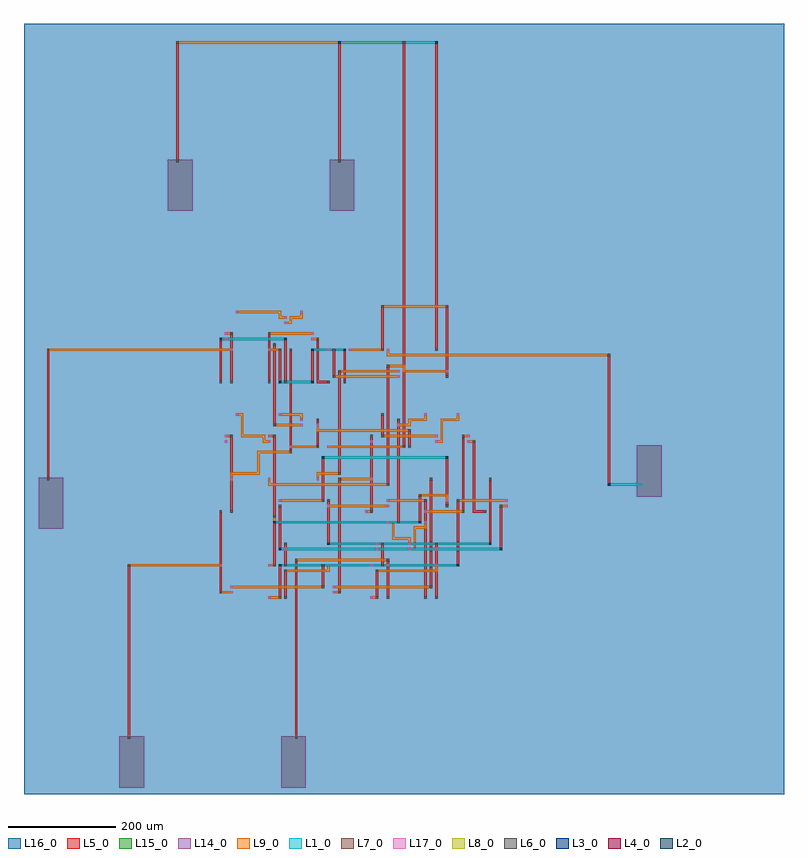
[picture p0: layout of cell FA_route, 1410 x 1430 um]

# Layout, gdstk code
from math import pi, radians
import gdstk
lib = gdstk.Library(unit=1e-6, precision=1e-09)
def R(c, l, rs):  # rectangles x0, y0, x1, y1
    for r in rs: c.add(gdstk.rectangle(r[:2], r[2:], *l))
L1_0 = (1, 0)
L2_0 = (2, 0)
L3_0 = (3, 0)
L4_0 = (4, 0)
L5_0 = (5, 0)
L6_0 = (6, 0)
L7_0 = (7, 0)
L8_0 = (8, 0)
L9_0 = (9, 0)
L14_0 = (14, 0)
L15_0 = (15, 0)
L16_0 = (16, 0)
L17_0 = (17, 0)

via45 = lib.new_cell('VIA45')
R(via45, L7_0, [(-2.2,-2.2,2.2,2.2)])
R(via45, L8_0, [(-2.2,-2.2,2.2,2.2)])
R(via45, L9_0, [(-2.2,-2.2,2.2,2.2)])

via34 = lib.new_cell('VIA34')
R(via34, L5_0, [(-2.2,-2.2,2.2,2.2)])
R(via34, L6_0, [(-2.2,-2.2,2.2,2.2)])
R(via34, L7_0, [(-2.2,-2.2,2.2,2.2)])

via23 = lib.new_cell('VIA23')
R(via23, L3_0, [(-2.2,-2.2,2.2,2.2)])
R(via23, L4_0, [(-2.2,-2.2,2.2,2.2)])
R(via23, L5_0, [(-2.2,-2.2,2.2,2.2)])

pad = lib.new_cell('PAD')
R(pad, L14_0, [(27,12.5,73,107.5)])
R(pad, L15_0, [(27,12.5,73,107.5)])
R(pad, L16_0, [(0,0,100,120)])

via12 = lib.new_cell('VIA12')
R(via12, L1_0, [(-2.2,-2.2,2.2,2.2)])
R(via12, L2_0, [(-2.2,-2.2,2.2,2.2)])
R(via12, L3_0, [(-2.2,-2.2,2.2,2.2)])

thmitll_splitt = lib.new_cell('THmitll_SPLITT')
R(thmitll_splitt, L16_0, [(0,0,30,70)])
R(thmitll_splitt, L17_0, [(22.8,12.8,27.2,17.2), (22.8,22.8,27.2,27.2), (2.8,62.8,7.2,67.2)])

thmitll_dfft = lib.new_cell('THmitll_DFFT')
R(thmitll_dfft, L16_0, [(0,0,30,70)])
R(thmitll_dfft, L17_0, [(2.8,2.8,7.2,7.2), (22.8,2.8,27.2,7.2), (22.8,62.8,27.2,67.2)])

thmitll_xort = lib.new_cell('THmitll_XORT')
R(thmitll_xort, L16_0, [(0,0,50,70)])
R(thmitll_xort, L17_0, [(2.8,2.8,7.2,7.2), (32.8,2.8,37.2,7.2), (2.8,62.8,7.2,67.2), (42.8,62.8,47.2,67.2)])

thmitll_or2t = lib.new_cell('THmitll_OR2T')
R(thmitll_or2t, L16_0, [(0,0,40,70)])
R(thmitll_or2t, L17_0, [(2.8,2.8,7.2,7.2), (32.8,2.8,37.2,7.2), (2.8,62.8,7.2,67.2), (32.8,62.8,37.2,67.2)])

thmitll_and2t = lib.new_cell('THmitll_AND2T')
R(thmitll_and2t, L16_0, [(0,0,50,70)])
R(thmitll_and2t, L17_0, [(2.8,2.8,7.2,7.2), (42.8,12.8,47.2,17.2), (42.8,22.8,47.2,27.2), (12.8,62.8,17.2,67.2)])

fa_route = lib.new_cell('FA_route')
R(fa_route, L16_0, [(0,0,1410,1430)])
fa_route.add(gdstk.FlexPath([(715,645),(715,675)], 4.4, ends="extended", simple_path=True, layer=5, datatype=0))  # L5_0
fa_route.add(gdstk.FlexPath([(285,1175),(285,1395)], 4.4, ends="extended", simple_path=True, layer=5, datatype=0))  # L5_0
fa_route.add(gdstk.FlexPath([(535,765),(535,825)], 4.4, ends="extended", simple_path=True, layer=5, datatype=0))  # L5_0
fa_route.add(gdstk.FlexPath([(585,375),(585,585)], 4.4, ends="extended", simple_path=True, layer=5, datatype=0))  # L5_0
fa_route.add(gdstk.FlexPath([(765,1395),(765,825)], 4.4, ends="extended", simple_path=True, layer=5, datatype=0))  # L5_0
fa_route.add(gdstk.FlexPath([(835,655),(835,525)], 4.4, ends="extended", simple_path=True, layer=5, datatype=0))  # L5_0
fa_route.add(gdstk.FlexPath([(485,425),(485,465)], 4.4, ends="extended", simple_path=True, layer=5, datatype=0))  # L5_0
fa_route.add(gdstk.FlexPath([(465,425),(465,505)], 4.4, ends="extended", simple_path=True, layer=5, datatype=0))  # L5_0
fa_route.add(gdstk.FlexPath([(485,765),(485,845)], 4.4, ends="extended", simple_path=True, layer=5, datatype=0))  # L5_0
fa_route.add(gdstk.FlexPath([(545,645),(545,695)], 4.4, ends="extended", simple_path=True, layer=5, datatype=0))  # L5_0
fa_route.add(gdstk.FlexPath([(455,765),(455,855)], 4.4, ends="extended", simple_path=True, layer=5, datatype=0))  # L5_0
fa_route.add(gdstk.FlexPath([(465,665),(465,515)], 4.4, ends="extended", simple_path=True, layer=5, datatype=0))  # L5_0
fa_route.add(gdstk.FlexPath([(485,415),(485,365)], 4.4, ends="extended", simple_path=True, layer=5, datatype=0))  # L5_0
fa_route.add(gdstk.FlexPath([(555,545),(555,625)], 4.4, ends="extended", simple_path=True, layer=5, datatype=0))  # L5_0
fa_route.add(gdstk.FlexPath([(505,105),(505,435)], 4.4, ends="extended", simple_path=True, layer=5, datatype=0))  # L5_0
fa_route.add(gdstk.FlexPath([(475,455),(475,535)], 4.4, ends="extended", simple_path=True, layer=5, datatype=0))  # L5_0
fa_route.add(gdstk.FlexPath([(465,835),(465,685)], 4.4, ends="extended", simple_path=True, layer=5, datatype=0))  # L5_0
fa_route.add(gdstk.FlexPath([(865,465),(865,585)], 4.4, ends="extended", simple_path=True, layer=5, datatype=0))  # L5_0
fa_route.add(gdstk.FlexPath([(555,385),(555,425)], 4.4, ends="extended", simple_path=True, layer=5, datatype=0))  # L5_0
fa_route.add(gdstk.FlexPath([(815,665),(815,525)], 4.4, ends="extended", simple_path=True, layer=5, datatype=0))  # L5_0
fa_route.add(gdstk.FlexPath([(765,365),(765,465)], 4.4, ends="extended", simple_path=True, layer=5, datatype=0))  # L5_0
fa_route.add(gdstk.FlexPath([(585,1175),(585,1395)], 4.4, ends="extended", simple_path=True, layer=5, datatype=0))  # L5_0
fa_route.add(gdstk.FlexPath([(475,365),(475,425)], 4.4, ends="extended", simple_path=True, layer=5, datatype=0))  # L5_0
fa_route.add(gdstk.FlexPath([(785,905),(785,775)], 4.4, ends="extended", simple_path=True, layer=5, datatype=0))  # L5_0
fa_route.add(gdstk.FlexPath([(495,825),(495,635)], 4.4, ends="extended", simple_path=True, layer=5, datatype=0))  # L5_0
fa_route.add(gdstk.FlexPath([(475,825),(475,765)], 4.4, ends="extended", simple_path=True, layer=5, datatype=0))  # L5_0
fa_route.add(gdstk.FlexPath([(645,525),(645,665)], 4.4, ends="extended", simple_path=True, layer=5, datatype=0))  # L5_0
fa_route.add(gdstk.FlexPath([(545,765),(565,765)], 4.4, ends="extended", simple_path=True, layer=5, datatype=0))  # L5_0
fa_route.add(gdstk.FlexPath([(705,1395),(705,645)], 4.4, ends="extended", simple_path=True, layer=5, datatype=0))  # L5_0
fa_route.add(gdstk.FlexPath([(675,795),(675,575)], 4.4, ends="extended", simple_path=True, layer=5, datatype=0))  # L5_0
fa_route.add(gdstk.FlexPath([(665,465),(665,425)], 4.4, ends="extended", simple_path=True, layer=5, datatype=0))  # L5_0
fa_route.add(gdstk.FlexPath([(365,525),(365,375)], 4.4, ends="extended", simple_path=True, layer=5, datatype=0))  # L5_0
fa_route.add(gdstk.FlexPath([(1085,575),(1085,815)], 4.4, ends="extended", simple_path=True, layer=5, datatype=0))  # L5_0
fa_route.add(gdstk.FlexPath([(735,505),(735,555)], 4.4, ends="extended", simple_path=True, layer=5, datatype=0))  # L5_0
fa_route.add(gdstk.FlexPath([(565,545),(565,465)], 4.4, ends="extended", simple_path=True, layer=5, datatype=0))  # L5_0
fa_route.add(gdstk.FlexPath([(595,825),(595,765)], 4.4, ends="extended", simple_path=True, layer=5, datatype=0))  # L5_0
fa_route.add(gdstk.FlexPath([(575,825),(575,775)], 4.4, ends="extended", simple_path=True, layer=5, datatype=0))  # L5_0
fa_route.add(gdstk.FlexPath([(385,665),(385,525)], 4.4, ends="extended", simple_path=True, layer=5, datatype=0))  # L5_0
fa_route.add(gdstk.FlexPath([(45,585),(45,825)], 4.4, ends="extended", simple_path=True, layer=5, datatype=0))  # L5_0
fa_route.add(gdstk.FlexPath([(195,105),(195,425)], 4.4, ends="extended", simple_path=True, layer=5, datatype=0))  # L5_0
fa_route.add(gdstk.FlexPath([(885,535),(885,455)], 4.4, ends="extended", simple_path=True, layer=5, datatype=0))  # L5_0
fa_route.add(gdstk.FlexPath([(655,365),(655,415)], 4.4, ends="extended", simple_path=True, layer=5, datatype=0))  # L5_0
fa_route.add(gdstk.FlexPath([(785,625),(785,535)], 4.4, ends="extended", simple_path=True, layer=5, datatype=0))  # L5_0
fa_route.add(gdstk.FlexPath([(365,845),(365,765)], 4.4, ends="extended", simple_path=True, layer=5, datatype=0))  # L5_0
fa_route.add(gdstk.FlexPath([(545,845),(545,765)], 4.4, ends="extended", simple_path=True, layer=5, datatype=0))  # L5_0
fa_route.add(gdstk.FlexPath([(695,505),(695,695)], 4.4, ends="extended", simple_path=True, layer=5, datatype=0))  # L5_0
fa_route.add(gdstk.FlexPath([(745,545),(745,365)], 4.4, ends="extended", simple_path=True, layer=5, datatype=0))  # L5_0
fa_route.add(gdstk.FlexPath([(755,385),(755,585)], 4.4, ends="extended", simple_path=True, layer=5, datatype=0))  # L5_0
fa_route.add(gdstk.FlexPath([(665,705),(665,665)], 4.4, ends="extended", simple_path=True, layer=5, datatype=0))  # L5_0
fa_route.add(gdstk.FlexPath([(835,525),(855,525)], 4.4, ends="extended", simple_path=True, layer=5, datatype=0))  # L5_0
fa_route.add(gdstk.FlexPath([(385,855),(385,765)], 4.4, ends="extended", simple_path=True, layer=5, datatype=0))  # L5_0
fa_route.add(gdstk.FlexPath([(675,435),(675,365)], 4.4, ends="extended", simple_path=True, layer=5, datatype=0))  # L5_0
fa_route.add(gdstk.FlexPath([(665,825),(665,905)], 4.4, ends="extended", simple_path=True, layer=5, datatype=0))  # L5_0
fa_route.add(gdstk.FlexPath([(585,785),(585,595)], 4.4, ends="extended", simple_path=True, layer=5, datatype=0))  # L5_0
fa_route.add(gdstk.FlexPath([(805,425),(805,545)], 4.4, ends="extended", simple_path=True, layer=5, datatype=0))  # L5_0
fa_route.add(gdstk.FlexPath([(555,625),(785,625)], 4.4, ends="extended", simple_path=True, layer=1, datatype=0))  # L1_0
fa_route.add(gdstk.FlexPath([(475,765),(535,765)], 4.4, ends="extended", simple_path=True, layer=1, datatype=0))  # L1_0
fa_route.add(gdstk.FlexPath([(1145,575),(1085,575)], 4.4, ends="extended", simple_path=True, layer=1, datatype=0))  # L1_0
fa_route.add(gdstk.FlexPath([(485,845),(365,845)], 4.4, ends="extended", simple_path=True, layer=1, datatype=0))  # L1_0
fa_route.add(gdstk.FlexPath([(885,455),(475,455)], 4.4, ends="extended", simple_path=True, layer=1, datatype=0))  # L1_0
fa_route.add(gdstk.FlexPath([(585,1395),(765,1395)], 4.4, ends="extended", simple_path=True, layer=1, datatype=0))  # L1_0
fa_route.add(gdstk.FlexPath([(565,465),(865,465)], 4.4, ends="extended", simple_path=True, layer=1, datatype=0))  # L1_0
fa_route.add(gdstk.FlexPath([(475,425),(805,425)], 4.4, ends="extended", simple_path=True, layer=1, datatype=0))  # L1_0
fa_route.add(gdstk.FlexPath([(465,505),(735,505)], 4.4, ends="extended", simple_path=True, layer=1, datatype=0))  # L1_0
fa_route.add(gdstk.FlexPath([(535,825),(595,825)], 4.4, ends="extended", simple_path=True, layer=1, datatype=0))  # L1_0
fa_route.add(gdstk.FlexPath([(675,815),(675,825)], 4.4, ends="extended", simple_path=True, layer=9, datatype=0))  # L9_0
fa_route.add(gdstk.FlexPath([(515,885),(515,895)], 4.4, ends="extended", simple_path=True, layer=9, datatype=0))  # L9_0
fa_route.add(gdstk.FlexPath([(645,365),(655,365)], 4.4, ends="extended", simple_path=True, layer=9, datatype=0))  # L9_0
fa_route.add(gdstk.FlexPath([(675,545),(745,545)], 4.4, ends="extended", simple_path=True, layer=9, datatype=0))  # L9_0
fa_route.add(gdstk.FlexPath([(685,475),(715,475)], 4.4, ends="extended", simple_path=True, layer=9, datatype=0))  # L9_0
fa_route.add(gdstk.FlexPath([(455,575),(455,585)], 4.4, ends="extended", simple_path=True, layer=9, datatype=0))  # L9_0
fa_route.add(gdstk.FlexPath([(375,855),(385,855)], 4.4, ends="extended", simple_path=True, layer=9, datatype=0))  # L9_0
fa_route.add(gdstk.FlexPath([(575,385),(755,385)], 4.4, ends="extended", simple_path=True, layer=9, datatype=0))  # L9_0
fa_route.add(gdstk.FlexPath([(715,695),(745,695)], 4.4, ends="extended", simple_path=True, layer=9, datatype=0))  # L9_0
fa_route.add(gdstk.FlexPath([(785,785),(705,785)], 4.4, ends="extended", simple_path=True, layer=9, datatype=0))  # L9_0
fa_route.add(gdstk.FlexPath([(765,655),(775,655)], 4.4, ends="extended", simple_path=True, layer=9, datatype=0))  # L9_0
fa_route.add(gdstk.FlexPath([(605,825),(665,825)], 4.4, ends="extended", simple_path=True, layer=9, datatype=0))  # L9_0
fa_route.add(gdstk.FlexPath([(495,635),(435,635)], 4.4, ends="extended", simple_path=True, layer=9, datatype=0))  # L9_0
fa_route.add(gdstk.FlexPath([(705,645),(565,645)], 4.4, ends="extended", simple_path=True, layer=9, datatype=0))  # L9_0
fa_route.add(gdstk.FlexPath([(365,375),(385,375)], 4.4, ends="extended", simple_path=True, layer=9, datatype=0))  # L9_0
fa_route.add(gdstk.FlexPath([(725,455),(725,495)], 4.4, ends="extended", simple_path=True, layer=9, datatype=0))  # L9_0
fa_route.add(gdstk.FlexPath([(495,885),(515,885)], 4.4, ends="extended", simple_path=True, layer=9, datatype=0))  # L9_0
fa_route.add(gdstk.FlexPath([(785,555),(785,545)], 4.4, ends="extended", simple_path=True, layer=9, datatype=0))  # L9_0
fa_route.add(gdstk.FlexPath([(825,655),(835,655)], 4.4, ends="extended", simple_path=True, layer=9, datatype=0))  # L9_0
fa_route.add(gdstk.FlexPath([(675,575),(455,575)], 4.4, ends="extended", simple_path=True, layer=9, datatype=0))  # L9_0
fa_route.add(gdstk.FlexPath([(405,705),(405,665)], 4.4, ends="extended", simple_path=True, layer=9, datatype=0))  # L9_0
fa_route.add(gdstk.FlexPath([(805,695),(805,705)], 4.4, ends="extended", simple_path=True, layer=9, datatype=0))  # L9_0
fa_route.add(gdstk.FlexPath([(715,685),(715,695)], 4.4, ends="extended", simple_path=True, layer=9, datatype=0))  # L9_0
fa_route.add(gdstk.FlexPath([(765,415),(765,425)], 4.4, ends="extended", simple_path=True, layer=9, datatype=0))  # L9_0
fa_route.add(gdstk.FlexPath([(545,675),(545,685)], 4.4, ends="extended", simple_path=True, layer=9, datatype=0))  # L9_0
fa_route.add(gdstk.FlexPath([(195,425),(365,425)], 4.4, ends="extended", simple_path=True, layer=9, datatype=0))  # L9_0
fa_route.add(gdstk.FlexPath([(395,895),(475,895)], 4.4, ends="extended", simple_path=True, layer=9, datatype=0))  # L9_0
fa_route.add(gdstk.FlexPath([(735,555),(785,555)], 4.4, ends="extended", simple_path=True, layer=9, datatype=0))  # L9_0
fa_route.add(gdstk.FlexPath([(475,545),(555,545)], 4.4, ends="extended", simple_path=True, layer=9, datatype=0))  # L9_0
fa_route.add(gdstk.FlexPath([(385,385),(555,385)], 4.4, ends="extended", simple_path=True, layer=9, datatype=0))  # L9_0
fa_route.add(gdstk.FlexPath([(435,595),(385,595)], 4.4, ends="extended", simple_path=True, layer=9, datatype=0))  # L9_0
fa_route.add(gdstk.FlexPath([(395,705),(405,705)], 4.4, ends="extended", simple_path=True, layer=9, datatype=0))  # L9_0
fa_route.add(gdstk.FlexPath([(655,465),(665,465)], 4.4, ends="extended", simple_path=True, layer=9, datatype=0))  # L9_0
fa_route.add(gdstk.FlexPath([(715,455),(725,455)], 4.4, ends="extended", simple_path=True, layer=9, datatype=0))  # L9_0
fa_route.add(gdstk.FlexPath([(775,695),(805,695)], 4.4, ends="extended", simple_path=True, layer=9, datatype=0))  # L9_0
fa_route.add(gdstk.FlexPath([(655,415),(765,415)], 4.4, ends="extended", simple_path=True, layer=9, datatype=0))  # L9_0
fa_route.add(gdstk.FlexPath([(805,545),(895,545)], 4.4, ends="extended", simple_path=True, layer=9, datatype=0))  # L9_0
fa_route.add(gdstk.FlexPath([(665,905),(785,905)], 4.4, ends="extended", simple_path=True, layer=9, datatype=0))  # L9_0
fa_route.add(gdstk.FlexPath([(825,665),(815,665)], 4.4, ends="extended", simple_path=True, layer=9, datatype=0))  # L9_0
fa_route.add(gdstk.FlexPath([(455,825),(475,825)], 4.4, ends="extended", simple_path=True, layer=9, datatype=0))  # L9_0
fa_route.add(gdstk.FlexPath([(475,705),(515,705)], 4.4, ends="extended", simple_path=True, layer=9, datatype=0))  # L9_0
fa_route.add(gdstk.FlexPath([(715,675),(545,675)], 4.4, ends="extended", simple_path=True, layer=9, datatype=0))  # L9_0
fa_route.add(gdstk.FlexPath([(445,655),(455,655)], 4.4, ends="extended", simple_path=True, layer=9, datatype=0))  # L9_0
fa_route.add(gdstk.FlexPath([(565,425),(565,415)], 4.4, ends="extended", simple_path=True, layer=9, datatype=0))  # L9_0
fa_route.add(gdstk.FlexPath([(565,825),(575,825)], 4.4, ends="extended", simple_path=True, layer=9, datatype=0))  # L9_0
fa_route.add(gdstk.FlexPath([(435,635),(435,595)], 4.4, ends="extended", simple_path=True, layer=9, datatype=0))  # L9_0
fa_route.add(gdstk.FlexPath([(445,665),(445,655)], 4.4, ends="extended", simple_path=True, layer=9, datatype=0))  # L9_0
fa_route.add(gdstk.FlexPath([(745,495),(745,505)], 4.4, ends="extended", simple_path=True, layer=9, datatype=0))  # L9_0
fa_route.add(gdstk.FlexPath([(535,845),(545,845)], 4.4, ends="extended", simple_path=True, layer=9, datatype=0))  # L9_0
fa_route.add(gdstk.FlexPath([(815,525),(745,525)], 4.4, ends="extended", simple_path=True, layer=9, datatype=0))  # L9_0
fa_route.add(gdstk.FlexPath([(895,535),(885,535)], 4.4, ends="extended", simple_path=True, layer=9, datatype=0))  # L9_0
fa_route.add(gdstk.FlexPath([(465,685),(515,685)], 4.4, ends="extended", simple_path=True, layer=9, datatype=0))  # L9_0
fa_route.add(gdstk.FlexPath([(745,695),(745,705)], 4.4, ends="extended", simple_path=True, layer=9, datatype=0))  # L9_0
fa_route.add(gdstk.FlexPath([(475,885),(485,885)], 4.4, ends="extended", simple_path=True, layer=9, datatype=0))  # L9_0
fa_route.add(gdstk.FlexPath([(645,425),(565,425)], 4.4, ends="extended", simple_path=True, layer=9, datatype=0))  # L9_0
fa_route.add(gdstk.FlexPath([(565,535),(675,535)], 4.4, ends="extended", simple_path=True, layer=9, datatype=0))  # L9_0
fa_route.add(gdstk.FlexPath([(405,665),(445,665)], 4.4, ends="extended", simple_path=True, layer=9, datatype=0))  # L9_0
fa_route.add(gdstk.FlexPath([(505,435),(675,435)], 4.4, ends="extended", simple_path=True, layer=9, datatype=0))  # L9_0
fa_route.add(gdstk.FlexPath([(725,495),(745,495)], 4.4, ends="extended", simple_path=True, layer=9, datatype=0))  # L9_0
fa_route.add(gdstk.FlexPath([(695,785),(585,785)], 4.4, ends="extended", simple_path=True, layer=9, datatype=0))  # L9_0
fa_route.add(gdstk.FlexPath([(665,425),(675,425)], 4.4, ends="extended", simple_path=True, layer=9, datatype=0))  # L9_0
fa_route.add(gdstk.FlexPath([(575,375),(585,375)], 4.4, ends="extended", simple_path=True, layer=9, datatype=0))  # L9_0
fa_route.add(gdstk.FlexPath([(1085,815),(675,815)], 4.4, ends="extended", simple_path=True, layer=9, datatype=0))  # L9_0
fa_route.add(gdstk.FlexPath([(475,895),(475,885)], 4.4, ends="extended", simple_path=True, layer=9, datatype=0))  # L9_0
fa_route.add(gdstk.FlexPath([(545,595),(545,585)], 4.4, ends="extended", simple_path=True, layer=9, datatype=0))  # L9_0
fa_route.add(gdstk.FlexPath([(455,425),(465,425)], 4.4, ends="extended", simple_path=True, layer=9, datatype=0))  # L9_0
fa_route.add(gdstk.FlexPath([(575,775),(695,775)], 4.4, ends="extended", simple_path=True, layer=9, datatype=0))  # L9_0
fa_route.add(gdstk.FlexPath([(385,595),(385,585)], 4.4, ends="extended", simple_path=True, layer=9, datatype=0))  # L9_0
fa_route.add(gdstk.FlexPath([(455,665),(465,665)], 4.4, ends="extended", simple_path=True, layer=9, datatype=0))  # L9_0
fa_route.add(gdstk.FlexPath([(495,645),(545,645)], 4.4, ends="extended", simple_path=True, layer=9, datatype=0))  # L9_0
fa_route.add(gdstk.FlexPath([(45,825),(385,825)], 4.4, ends="extended", simple_path=True, layer=9, datatype=0))  # L9_0
fa_route.add(gdstk.FlexPath([(685,505),(685,475)], 4.4, ends="extended", simple_path=True, layer=9, datatype=0))  # L9_0
fa_route.add(gdstk.FlexPath([(495,875),(495,885)], 4.4, ends="extended", simple_path=True, layer=9, datatype=0))  # L9_0
fa_route.add(gdstk.FlexPath([(565,415),(485,415)], 4.4, ends="extended", simple_path=True, layer=9, datatype=0))  # L9_0
fa_route.add(gdstk.FlexPath([(455,365),(475,365)], 4.4, ends="extended", simple_path=True, layer=9, datatype=0))  # L9_0
fa_route.add(gdstk.FlexPath([(665,665),(765,665)], 4.4, ends="extended", simple_path=True, layer=9, datatype=0))  # L9_0
fa_route.add(gdstk.FlexPath([(285,1395),(705,1395)], 4.4, ends="extended", simple_path=True, layer=9, datatype=0))  # L9_0
fa_route.add(gdstk.FlexPath([(675,505),(685,505)], 4.4, ends="extended", simple_path=True, layer=9, datatype=0))  # L9_0
fa_route.add(gdstk.FlexPath([(695,685),(715,685)], 4.4, ends="extended", simple_path=True, layer=9, datatype=0))  # L9_0
fa_route.add(gdstk.FlexPath([(585,595),(545,595)], 4.4, ends="extended", simple_path=True, layer=9, datatype=0))  # L9_0
fa_route.add(gdstk.FlexPath([(515,705),(515,695)], 4.4, ends="extended", simple_path=True, layer=9, datatype=0))  # L9_0
fa_route.add(gdstk.FlexPath([(715,475),(715,465)], 4.4, ends="extended", simple_path=True, layer=9, datatype=0))  # L9_0
fa_route.add(gdstk.FlexPath([(485,875),(495,875)], 4.4, ends="extended", simple_path=True, layer=9, datatype=0))  # L9_0
fa_route.add(gdstk.FlexPath([(705,795),(675,795)], 4.4, ends="extended", simple_path=True, layer=9, datatype=0))  # L9_0
fa_route.add(gdstk.FlexPath([(635,525),(645,525)], 4.4, ends="extended", simple_path=True, layer=9, datatype=0))  # L9_0
fa_route.add(gdstk.FlexPath([(585,585),(645,585)], 4.4, ends="extended", simple_path=True, layer=9, datatype=0))  # L9_0
fa_route.add(gdstk.FlexPath([(775,655),(775,695)], 4.4, ends="extended", simple_path=True, layer=9, datatype=0))  # L9_0
fa_route.add(gdstk.FlexPath([(455,855),(535,855)], 4.4, ends="extended", simple_path=True, layer=9, datatype=0))  # L9_0
fa_route.add(gdstk.FlexPath([(705,785),(705,795)], 4.4, ends="extended", simple_path=True, layer=9, datatype=0))  # L9_0
fa_route.add(gdstk.FlexPath([(465,515),(465,505)], 4.4, ends="extended", simple_path=True, layer=9, datatype=0))  # L9_0
fa_route.add(gdstk.FlexPath([(375,665),(385,665)], 4.4, ends="extended", simple_path=True, layer=9, datatype=0))  # L9_0
fa_route.add(gdstk.Reference(via45, (385,765)))
fa_route.add(gdstk.Reference(via34, (665,665)))
fa_route.add(gdstk.Reference(via34, (495,825)))
fa_route.add(gdstk.Reference(via45, (785,905)))
fa_route.add(gdstk.Reference(via45, (45,825)))
fa_route.add(gdstk.Reference(via23, (465,505)))
fa_route.add(gdstk.Reference(pad, (1110,540)))
fa_route.add(gdstk.Reference(via12, (1085,575)))
fa_route.add(gdstk.Reference(via45, (465,685)))
fa_route.add(gdstk.Reference(via34, (705,645)))
fa_route.add(gdstk.Reference(via34, (885,535)))
fa_route.add(gdstk.Reference(via45, (715,645)))
fa_route.add(gdstk.Reference(via45, (745,365)))
fa_route.add(gdstk.Reference(via34, (585,595)))
fa_route.add(gdstk.Reference(thmitll_splitt, (540,520)))
fa_route.add(gdstk.Reference(via45, (45,585)))
fa_route.add(gdstk.Reference(via34, (665,425)))
fa_route.add(gdstk.Reference(via34, (665,705)))
fa_route.add(gdstk.Reference(via12, (595,825)))
fa_route.add(gdstk.Reference(via45, (665,905)))
fa_route.add(gdstk.Reference(via34, (755,585)))
fa_route.add(gdstk.Reference(via34, (465,425)))
fa_route.add(gdstk.Reference(thmitll_dfft, (360,760)))
fa_route.add(gdstk.Reference(via45, (765,825)))
fa_route.add(gdstk.Reference(via34, (465,515)))
fa_route.add(gdstk.Reference(via34, (705,1395)))
fa_route.add(gdstk.Reference(via45, (555,385)))
fa_route.add(gdstk.Reference(via45, (365,375)))
fa_route.add(gdstk.Reference(via23, (555,625)))
fa_route.add(gdstk.Reference(via34, (585,785)))
fa_route.add(gdstk.Reference(thmitll_splitt, (490,710), x_reflection=True))
fa_route.add(gdstk.Reference(via45, (675,365)))
fa_route.add(gdstk.Reference(via34, (665,465)))
fa_route.add(gdstk.Reference(via45, (695,505)))
fa_route.add(gdstk.Reference(via12, (535,825)))
fa_route.add(gdstk.Reference(via34, (785,775)))
fa_route.add(gdstk.Reference(via34, (755,385)))
fa_route.add(gdstk.Reference(via45, (655,365)))
fa_route.add(gdstk.Reference(thmitll_xort, (450,760)))
fa_route.add(gdstk.Reference(via34, (1085,815)))
fa_route.add(gdstk.Reference(via34, (465,665)))
fa_route.add(gdstk.Reference(via45, (285,1175)))
fa_route.add(gdstk.Reference(via45, (365,765)))
fa_route.add(gdstk.Reference(via34, (715,675)))
fa_route.add(gdstk.Reference(via34, (555,545)))
fa_route.add(gdstk.Reference(via12, (535,765)))
fa_route.add(gdstk.Reference(thmitll_splitt, (480,640), rotation=pi, x_reflection=True))
fa_route.add(gdstk.Reference(via34, (45,825)))
fa_route.add(gdstk.Reference(via45, (385,855)))
fa_route.add(gdstk.Reference(via45, (455,855)))
fa_route.add(gdstk.Reference(via34, (595,765)))
fa_route.add(gdstk.Reference(via34, (785,905)))
fa_route.add(gdstk.Reference(via45, (745,545)))
fa_route.add(gdstk.Reference(via45, (485,365)))
fa_route.add(gdstk.Reference(thmitll_dfft, (360,520)))
fa_route.add(gdstk.Reference(via23, (1085,575)))
fa_route.add(gdstk.Reference(via45, (465,835)))
fa_route.add(gdstk.Reference(via45, (815,525)))
fa_route.add(gdstk.Reference(via34, (555,425)))
fa_route.add(gdstk.Reference(via34, (715,645)))
fa_route.add(gdstk.Reference(via12, (805,425)))
fa_route.add(gdstk.Reference(via12, (475,765)))
fa_route.add(gdstk.Reference(thmitll_splitt, (460,440)))
fa_route.add(gdstk.Reference(via34, (45,585)))
fa_route.add(gdstk.Reference(via45, (765,465)))
fa_route.add(gdstk.Reference(via34, (695,695)))
fa_route.add(gdstk.Reference(via23, (595,825)))
fa_route.add(gdstk.Reference(via45, (365,525)))
fa_route.add(gdstk.Reference(via45, (865,585)))
fa_route.add(gdstk.Reference(via34, (655,415)))
fa_route.add(gdstk.Reference(thmitll_dfft, (740,360)))
fa_route.add(gdstk.Reference(via12, (765,1395)))
fa_route.add(gdstk.Reference(via45, (645,665)))
fa_route.add(gdstk.Reference(via34, (285,1395)))
fa_route.add(gdstk.Reference(via34, (555,385)))
fa_route.add(gdstk.Reference(via45, (765,365)))
fa_route.add(gdstk.Reference(via12, (475,425)))
fa_route.add(gdstk.Reference(via23, (535,825)))
fa_route.add(gdstk.Reference(thmitll_splitt, (670,640), rotation=pi, x_reflection=True))
fa_route.add(gdstk.Reference(via45, (675,435)))
fa_route.add(gdstk.Reference(via34, (385,765)))
fa_route.add(gdstk.Reference(via34, (695,505)))
fa_route.add(gdstk.Reference(via12, (365,845)))
fa_route.add(gdstk.Reference(via45, (585,585)))
fa_route.add(gdstk.Reference(via34, (745,365)))
fa_route.add(gdstk.Reference(via34, (655,365)))
fa_route.add(gdstk.Reference(thmitll_or2t, (450,360)))
fa_route.add(gdstk.Reference(via12, (585,1395)))
fa_route.add(gdstk.Reference(via34, (465,685)))
fa_route.add(gdstk.Reference(via34, (285,1175)))
fa_route.add(gdstk.Reference(via45, (665,825)))
fa_route.add(gdstk.Reference(via45, (385,525)))
fa_route.add(gdstk.Reference(via34, (805,545)))
fa_route.add(gdstk.Reference(via23, (535,765)))
fa_route.add(gdstk.Reference(thmitll_splitt, (720,710), rotation=pi))
fa_route.add(gdstk.Reference(via45, (505,435)))
fa_route.add(gdstk.Reference(via34, (385,855)))
fa_route.add(gdstk.Reference(via45, (815,665)))
fa_route.add(gdstk.Reference(via12, (485,845)))
fa_route.add(gdstk.Reference(via34, (365,375)))
fa_route.add(gdstk.Reference(via34, (745,545)))
fa_route.add(gdstk.Reference(via45, (485,415)))
fa_route.add(gdstk.Reference(thmitll_and2t, (740,520)))
fa_route.add(gdstk.Reference(via34, (765,825)))
fa_route.add(gdstk.Reference(via34, (465,835)))
fa_route.add(gdstk.Reference(via45, (475,535)))
fa_route.add(gdstk.Reference(via34, (765,465)))
fa_route.add(gdstk.Reference(via23, (805,425)))
fa_route.add(gdstk.Reference(via45, (475,825)))
fa_route.add(gdstk.Reference(thmitll_splitt, (690,440)))
fa_route.add(gdstk.Reference(via34, (675,365)))
fa_route.add(gdstk.Reference(via45, (645,525)))
fa_route.add(gdstk.Reference(via45, (855,525)))
fa_route.add(gdstk.Reference(via34, (365,765)))
fa_route.add(gdstk.Reference(via34, (365,525)))
fa_route.add(gdstk.Reference(via12, (865,465)))
fa_route.add(gdstk.Reference(via45, (735,555)))
fa_route.add(gdstk.Reference(thmitll_xort, (560,760)))
fa_route.add(gdstk.Reference(via23, (765,1395)))
fa_route.add(gdstk.Reference(via45, (455,765)))
fa_route.add(gdstk.Reference(via34, (665,905)))
fa_route.add(gdstk.Reference(via34, (765,365)))
fa_route.add(gdstk.Reference(via45, (475,365)))
fa_route.add(gdstk.Reference(via45, (675,575)))
fa_route.add(gdstk.Reference(thmitll_splitt, (460,900), x_reflection=True))
fa_route.add(gdstk.Reference(via34, (675,435)))
fa_route.add(gdstk.Reference(via45, (585,1175)))
fa_route.add(gdstk.Reference(via45, (485,465)))
fa_route.add(gdstk.Reference(via34, (815,525)))
fa_route.add(gdstk.Reference(via23, (365,845)))
fa_route.add(gdstk.Reference(via45, (585,375)))
fa_route.add(gdstk.Reference(via12, (565,465)))
fa_route.add(gdstk.Reference(via34, (485,365)))
fa_route.add(gdstk.Reference(thmitll_or2t, (640,360)))
fa_route.add(gdstk.Reference(via45, (505,105)))
fa_route.add(gdstk.Reference(via45, (565,765)))
fa_route.add(gdstk.Reference(via34, (665,825)))
fa_route.add(gdstk.Reference(via45, (385,665)))
fa_route.add(gdstk.Reference(via45, (785,535)))
fa_route.add(gdstk.Reference(via23, (475,765)))
fa_route.add(gdstk.Reference(thmitll_splitt, (510,830)))
fa_route.add(gdstk.Reference(pad, (0,480)))
fa_route.add(gdstk.Reference(thmitll_splitt, (570,710), rotation=pi))
fa_route.add(gdstk.Reference(via34, (645,665)))
fa_route.add(gdstk.Reference(via34, (815,665)))
fa_route.add(gdstk.Reference(via45, (485,765)))
fa_route.add(gdstk.Reference(via45, (575,775)))
fa_route.add(gdstk.Reference(via34, (865,585)))
fa_route.add(gdstk.Reference(via34, (485,415)))
fa_route.add(gdstk.Reference(thmitll_splitt, (360,360)))
fa_route.add(gdstk.Reference(via45, (195,425)))
fa_route.add(gdstk.Reference(via34, (455,855)))
fa_route.add(gdstk.Reference(via12, (475,455)))
fa_route.add(gdstk.Reference(via45, (545,695)))
fa_route.add(gdstk.Reference(via23, (475,425)))
fa_route.add(gdstk.Reference(via34, (475,825)))
fa_route.add(gdstk.Reference(via12, (735,505)))
fa_route.add(gdstk.Reference(pad, (450,0)))
fa_route.add(gdstk.Reference(via23, (585,1395)))
fa_route.add(gdstk.Reference(via34, (645,525)))
fa_route.add(gdstk.Reference(via45, (835,655)))
fa_route.add(gdstk.Reference(via45, (495,635)))
fa_route.add(gdstk.Reference(via34, (585,585)))
fa_route.add(gdstk.Reference(via23, (865,465)))
fa_route.add(gdstk.Reference(via45, (675,795)))
fa_route.add(gdstk.Reference(thmitll_splitt, (550,360)))
fa_route.add(gdstk.Reference(via34, (505,435)))
fa_route.add(gdstk.Reference(via34, (455,765)))
fa_route.add(gdstk.Reference(via12, (885,455)))
fa_route.add(gdstk.Reference(via34, (385,525)))
fa_route.add(gdstk.Reference(via34, (475,365)))
fa_route.add(gdstk.Reference(via45, (565,545)))
fa_route.add(gdstk.Reference(via12, (465,505)))
fa_route.add(gdstk.Reference(thmitll_and2t, (850,520)))
fa_route.add(gdstk.Reference(via34, (585,1175)))
fa_route.add(gdstk.Reference(via45, (485,425)))
fa_route.add(gdstk.Reference(via45, (665,665)))
fa_route.add(gdstk.Reference(via23, (485,845)))
fa_route.add(gdstk.Reference(via34, (585,375)))
fa_route.add(gdstk.Reference(via12, (785,625)))
fa_route.add(gdstk.Reference(via45, (585,595)))
fa_route.add(gdstk.Reference(thmitll_splitt, (740,640)))
fa_route.add(gdstk.Reference(via34, (505,105)))
fa_route.add(gdstk.Reference(via45, (545,845)))
fa_route.add(gdstk.Reference(via45, (705,645)))
fa_route.add(gdstk.Reference(via34, (475,535)))
fa_route.add(gdstk.Reference(via34, (385,665)))
fa_route.add(gdstk.Reference(via45, (575,825)))
fa_route.add(gdstk.Reference(via45, (755,585)))
fa_route.add(gdstk.Reference(via34, (735,555)))
fa_route.add(gdstk.Reference(thmitll_and2t, (630,520)))
fa_route.add(gdstk.Reference(thmitll_splitt, (400,830), rotation=pi, x_reflection=True))
fa_route.add(gdstk.Reference(via45, (665,425)))
fa_route.add(gdstk.Reference(via34, (855,525)))
fa_route.add(gdstk.Reference(via34, (485,765)))
fa_route.add(gdstk.Reference(via45, (545,645)))
fa_route.add(gdstk.Reference(via12, (555,625)))
fa_route.add(gdstk.Reference(via34, (675,575)))
fa_route.add(gdstk.Reference(thmitll_splitt, (800,640)))
fa_route.add(gdstk.Reference(via45, (195,105)))
fa_route.add(gdstk.Reference(via45, (465,515)))
fa_route.add(gdstk.Reference(via23, (475,455)))
fa_route.add(gdstk.Reference(via45, (495,825)))
fa_route.add(gdstk.Reference(via45, (785,775)))
fa_route.add(gdstk.Reference(via23, (565,465)))
fa_route.add(gdstk.Reference(via23, (735,505)))
fa_route.add(gdstk.Reference(pad, (540,1070)))
fa_route.add(gdstk.Reference(thmitll_splitt, (680,440), rotation=pi, x_reflection=True))
fa_route.add(gdstk.Reference(via34, (485,465)))
fa_route.add(gdstk.Reference(via34, (835,655)))
fa_route.add(gdstk.Reference(via45, (885,535)))
fa_route.add(gdstk.Reference(via45, (715,675)))
fa_route.add(gdstk.Reference(via34, (785,535)))
fa_route.add(gdstk.Reference(via34, (675,795)))
fa_route.add(gdstk.Reference(thmitll_splitt, (760,760)))
fa_route.add(gdstk.Reference(via45, (1085,815)))
fa_route.add(gdstk.Reference(via34, (565,765)))
fa_route.add(gdstk.Reference(via45, (665,705)))
fa_route.add(gdstk.Reference(via45, (595,765)))
fa_route.add(gdstk.Reference(via34, (575,775)))
fa_route.add(gdstk.Reference(via34, (565,545)))
fa_route.add(gdstk.Reference(via45, (465,425)))
fa_route.add(gdstk.Reference(pad, (240,1070)))
fa_route.add(gdstk.Reference(thmitll_splitt, (400,640), rotation=pi, x_reflection=True))
fa_route.add(gdstk.Reference(via34, (485,425)))
fa_route.add(gdstk.Reference(via45, (705,1395)))
fa_route.add(gdstk.Reference(via45, (555,425)))
fa_route.add(gdstk.Reference(via34, (545,695)))
fa_route.add(gdstk.Reference(via23, (785,625)))
fa_route.add(gdstk.Reference(via45, (585,785)))
fa_route.add(gdstk.Reference(thmitll_splitt, (450,520)))
fa_route.add(gdstk.Reference(via34, (195,425)))
fa_route.add(gdstk.Reference(via34, (545,845)))
fa_route.add(gdstk.Reference(via45, (665,465)))
fa_route.add(gdstk.Reference(via45, (695,695)))
fa_route.add(gdstk.Reference(via34, (495,635)))
fa_route.add(gdstk.Reference(via34, (575,825)))
fa_route.add(gdstk.Reference(via45, (755,385)))
fa_route.add(gdstk.Reference(via45, (805,545)))
fa_route.add(gdstk.Reference(pad, (150,0)))
fa_route.add(gdstk.Reference(thmitll_splitt, (740,440)))
fa_route.add(gdstk.Reference(via45, (465,665)))
fa_route.add(gdstk.Reference(via45, (285,1395)))
fa_route.add(gdstk.Reference(via23, (885,455)))
fa_route.add(gdstk.Reference(via34, (545,645)))
fa_route.add(gdstk.Reference(via45, (555,545)))
fa_route.add(gdstk.Reference(via45, (655,415)))
fa_route.add(gdstk.Reference(thmitll_splitt, (670,760)))
fa_route.add(gdstk.Reference(via34, (195,105)))

lib.write_gds('FA_route.gds')
